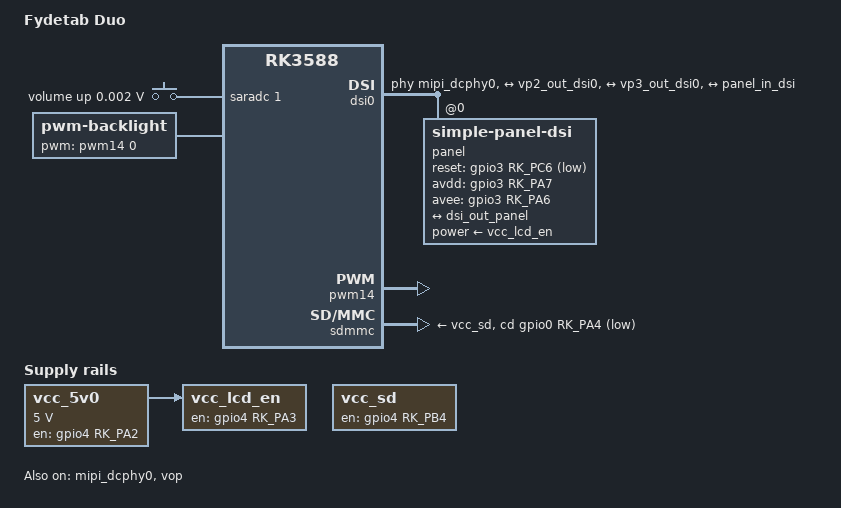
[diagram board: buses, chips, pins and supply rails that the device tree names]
// SPDX-License-Identifier: (GPL-2.0+ OR MIT)
/*
 * Copyright (c) 2023 Fyde Innovations Co. Ltd.
 */

/dts-v1/;
#include "rk3588.dtsi"
#include "rk3588-u-boot.dtsi"
#include <dt-bindings/input/input.h>
#include <dt-bindings/media/rockchip_mipi_dsi.h>


#define	ROCKCHIP_VOP2_CLUSTER0	0
#define	ROCKCHIP_VOP2_CLUSTER1	1
#define	ROCKCHIP_VOP2_ESMART0	2
#define	ROCKCHIP_VOP2_ESMART1	3
#define	ROCKCHIP_VOP2_SMART0	4
#define	ROCKCHIP_VOP2_SMART1	5
#define	ROCKCHIP_VOP2_CLUSTER2	6
#define	ROCKCHIP_VOP2_CLUSTER3	7
#define	ROCKCHIP_VOP2_ESMART2	8
#define	ROCKCHIP_VOP2_ESMART3	9


/ {
	model = "Fydetab Duo";
	compatible = "fydeos,fydetab-duo", "rockchip,rk3588";

	adc-keys {
		compatible = "adc-keys";
		io-channels = <&saradc 1>;
		io-channel-names = "buttons";
		keyup-threshold-microvolt = <1800000>;
		u-boot,dm-pre-reloc;
		status = "okay";

		volumeup-key {
			u-boot,dm-pre-reloc;
			linux,code = <KEY_VOLUMEUP>;
			label = "volume up";
			press-threshold-microvolt = <1750>;
		};
	};

	vcc_5v0: vcc-5v0 {
		compatible = "regulator-fixed";
		regulator-name = "vcc_5v0";
		regulator-always-on;
		regulator-boot-on;
		regulator-min-microvolt = <5000000>;
		regulator-max-microvolt = <5000000>;
		enable-active-high;
		gpio = <&gpio4 RK_PA2 GPIO_ACTIVE_HIGH>;
		pinctrl-names = "default";
		pinctrl-0 = <&vcc_5v0_en>;
	};

	vcc_lcd_en: vcc-lcd-power {
		compatible = "regulator-fixed";
		regulator-name = "vcc_lcd_en";
		enable-active-high;
		gpio = <&gpio4 RK_PA3 GPIO_ACTIVE_HIGH>;
		pinctrl-names = "default";
		pinctrl-0 = <&vcc_lcd_en_pin>;
		vin-supply = <&vcc_5v0>;
	};
	
	vcc_sd: vcc-sd-power {
		compatible = "regulator-fixed";
		regulator-name = "vcc_sd";
		enable-active-high;
		regulator-always-on;
		regulator-boot-on;
		gpio = <&gpio4 RK_PB4 GPIO_ACTIVE_HIGH>;
		pinctrl-names = "default";
		pinctrl-0 = <&vcc_sd_en_pin>;
	};

	backlight: backlight {
		compatible = "pwm-backlight";
		pwms = <&pwm14 0 25000 0>;
		brightness-levels = <
			  0  20  20  21  21  22  22  23
			 23  24  24  25  25  26  26  27
			 27  28  28  29  29  30  30  31
			 31  32  32  33  33  34  34  35
			 35  36  36  37  37  38  38  39
			 40  41  42  43  44  45  46  47
			 48  49  50  51  52  53  54  55
			 56  57  58  59  60  61  62  63
			 64  65  66  67  68  69  70  71
			 72  73  74  75  76  77  78  79
			 80  81  82  83  84  85  86  87
			 88  89  90  91  92  93  94  95
			 96  97  98  99 100 101 102 103
			104 105 106 107 108 109 110 111
			112 113 114 115 116 117 118 119
			120 121 122 123 124 125 126 127
			128 129 130 131 132 133 134 135
			136 137 138 139 140 141 142 143
			144 145 146 147 148 149 150 151
			152 153 154 155 156 157 158 159
			160 161 162 163 164 165 166 167
			168 169 170 171 172 173 174 175
			176 177 178 179 180 181 182 183
			184 185 186 187 188 189 190 191
			192 193 194 195 196 197 198 199
			200 201 202 203 204 205 206 207
			208 209 210 211 212 213 214 215
			216 217 218 219 220 221 222 223
			224 225 226 227 228 229 230 231
			232 233 234 235 236 237 238 239
			240 241 242 243 244 245 246 247
			248 249 250 251 252 253 254 255
		>;
		default-brightness-level = <200>;
	};

	mipidcphy0_grf: syscon@fd5e8000 {
		compatible = "rockchip,mipi-dcphy-grf", "syscon";
		reg = <0x0 0xfd5e8000 0x0 0x4000>;
	};

	mipi_dcphy0: phy@feda0000 {
		compatible = "rockchip,rk3588-mipi-dcphy";
		reg = <0x0 0xfeda0000 0x0 0x10000>;
		rockchip,grf = <&mipidcphy0_grf>;
		clocks = <&cru PCLK_MIPI_DCPHY0>,
			 <&cru CLK_USBDPPHY_MIPIDCPPHY_REF>;
		clock-names = "pclk", "ref";
		resets = <&cru SRST_M_MIPI_DCPHY0>,
			 <&cru SRST_P_MIPI_DCPHY0>,
			 <&cru SRST_P_MIPI_DCPHY0_GRF>,
			 <&cru SRST_S_MIPI_DCPHY0>;
		reset-names = "m_phy", "apb", "grf", "s_phy";
		#phy-cells = <0>;
		status = "okay";
	};
	
	vop: vop@fdd90000 {
		compatible = "rockchip,rk3588-vop";
		reg = <0x0 0xfdd90000 0x0 0x4200>, <0x0 0xfdd95000 0x0 0x1000>;
		reg-names = "regs", "gamma_lut";
		interrupts = <GIC_SPI 156 IRQ_TYPE_LEVEL_HIGH>;
		clocks = <&cru ACLK_VOP>,
			 <&cru HCLK_VOP>,
			 <&cru DCLK_VOP0>,
			 <&cru DCLK_VOP1>,
			 <&cru DCLK_VOP2>,
			 <&cru DCLK_VOP3>,
			 <&cru PCLK_VOP_ROOT>,
			 <&cru DCLK_VOP0_SRC>,
			 <&cru DCLK_VOP1_SRC>,
			 <&cru DCLK_VOP2_SRC>;
		clock-names = "aclk_vop",
			      "hclk_vop",
			      "dclk_vp0",
			      "dclk_vp1",
			      "dclk_vp2",
			      "dclk_vp3",
			      "pclk_vop",
			      "dclk_src_vp0",
			      "dclk_src_vp1",
			      "dclk_src_vp2";
		assigned-clocks = <&cru ACLK_VOP>;
		assigned-clock-rates = <800000000>;
		resets = <&cru SRST_A_VOP>,
			 <&cru SRST_H_VOP>,
			 <&cru SRST_D_VOP0>,
			 <&cru SRST_D_VOP1>,
			 <&cru SRST_D_VOP2>,
			 <&cru SRST_D_VOP3>;
		reset-names = "axi",
			      "ahb",
			      "dclk_vp0",
			      "dclk_vp1",
			      "dclk_vp2",
			      "dclk_vp3";
		iommus = <&vop_mmu>;
		power-domains = <&power RK3588_PD_VOP>;
		rockchip,grf = <&sys_grf>;
		rockchip,vop-grf = <&vop_grf>;
		rockchip,vo1-grf = <&vo1_grf>;
		rockchip,pmu = <&pmu>;

		disable-win-move;
		status = "okay";

		vop_out: ports {
			#address-cells = <1>;
			#size-cells = <0>;

			vp0: port@0 {
				cursor-win-id=<ROCKCHIP_VOP2_ESMART0>;
				rockchip,plane-mask = <(1 << ROCKCHIP_VOP2_CLUSTER0 | 1 << ROCKCHIP_VOP2_ESMART0)>;
				rockchip,primary-plane = <ROCKCHIP_VOP2_CLUSTER0>;
				#address-cells = <1>;
				#size-cells = <0>;
				reg = <0>;

				vp0_out_dp0: endpoint@0 {
					reg = <0>;
				};

				vp0_out_edp0: endpoint@1 {
					reg = <1>;
				};

				vp0_out_hdmi0: endpoint@2 {
					reg = <2>;
				};
			};

			vp1: port@1 {
				cursor-win-id=<ROCKCHIP_VOP2_ESMART1>;
				rockchip,plane-mask = <(1 << ROCKCHIP_VOP2_CLUSTER1 | 1 << ROCKCHIP_VOP2_ESMART1)>;
				rockchip,primary-plane = <ROCKCHIP_VOP2_CLUSTER1>;
				#address-cells = <1>;
				#size-cells = <0>;
				reg = <1>;

				vp1_out_dp0: endpoint@0 {
					reg = <0>;
				};

				vp1_out_edp0: endpoint@1 {
					reg = <1>;
				};

				vp1_out_hdmi0: endpoint@2 {
					reg = <2>;
				};
			};

			vp2: port@2 {
				cursor-win-id=<ROCKCHIP_VOP2_ESMART2>;
				rockchip,plane-mask = <(1 << ROCKCHIP_VOP2_CLUSTER2 | 1 << ROCKCHIP_VOP2_ESMART2)>;
				rockchip,primary-plane = <ROCKCHIP_VOP2_CLUSTER2>;
				#address-cells = <1>;
				#size-cells = <0>;
				reg = <2>;

				assigned-clocks = <&cru DCLK_VOP2_SRC>;
				assigned-clock-parents = <&cru PLL_V0PLL>;

				vp2_out_dp0: endpoint@0 {
					reg = <0>;
				};

				vp2_out_edp0: endpoint@1 {
					reg = <1>;
				};

				vp2_out_hdmi0: endpoint@2 {
					reg = <2>;
				};

				vp2_out_dsi0: endpoint@3 {
					reg = <3>;
					remote-endpoint = <&dsi0_in_vp2>;
				};

				vp2_out_dsi1: endpoint@4 {
					reg = <4>;
				};
			};

			vp3: port@3 {
				cursor-win-id=<ROCKCHIP_VOP2_ESMART3>;
				rockchip,plane-mask = <(1 << ROCKCHIP_VOP2_CLUSTER3 | 1 << ROCKCHIP_VOP2_ESMART3)>;
				rockchip,primary-plane = <ROCKCHIP_VOP2_CLUSTER3>;
				#address-cells = <1>;
				#size-cells = <0>;
				reg = <3>;

				vp3_out_dsi0: endpoint@0 {
					reg = <0>;
					remote-endpoint = <&dsi0_in_vp3>;
				};

				vp3_out_dsi1: endpoint@1 {
					reg = <1>;
				};

				vp3_out_rgb: endpoint@2 {
					reg = <2>;
				};
			};
		};
	};

	dsi0: dsi@fde20000 {
		compatible = "rockchip,rk3588-mipi-dsi2";
		reg = <0x0 0xfde20000 0x0 0x10000>;
		interrupts = <GIC_SPI 167 IRQ_TYPE_LEVEL_HIGH>;
		clocks = <&cru PCLK_DSIHOST0>, <&cru CLK_DSIHOST0>;
		clock-names = "pclk", "sys_clk";
		resets = <&cru SRST_P_DSIHOST0>;
		reset-names = "apb";
		power-domains = <&power RK3588_PD_VOP>;
		phys = <&mipi_dcphy0>;
		phy-names = "dcphy";
		rockchip,grf = <&vop_grf>;
		#address-cells = <1>;
		#size-cells = <0>;
		status = "okay";

		ports {
			#address-cells = <1>;
			#size-cells = <0>;

			dsi0_in: port@0 {
				reg = <0>;
				#address-cells = <1>;
				#size-cells = <0>;

				dsi0_in_vp2: endpoint@0 {
					reg = <0>;
					remote-endpoint = <&vp2_out_dsi0>;
					status = "okay";
				};

				dsi0_in_vp3: endpoint@1 {
					reg = <1>;
					remote-endpoint = <&vp3_out_dsi0>;
					status = "disabled";
				};
			};
		};
	};

	display_subsystem: display-subsystem {
		compatible = "rockchip,display-subsystem";
		status = "okay";
		ports = <&vop_out>;

		route {
			route_dp0: route-dp0 {
				status = "disabled";
				logo,uboot = "logo.bmp";
				logo,kernel = "logo_kernel.bmp";
				logo,mode = "center";
				charge_logo,mode = "center";
				connect = <&vp1_out_dp0>;
			};

			route_dsi0: route-dsi0 {
				status = "okay";
				logo,uboot = "logo.bmp";
				logo,kernel = "logo_kernel.bmp";
				logo,mode = "center";
				charge_logo,mode = "center";
				connect = <&vp2_out_dsi0>;
			};

			route_dsi1: route-dsi1 {
				status = "disabled";
				logo,uboot = "logo.bmp";
				logo,kernel = "logo_kernel.bmp";
				logo,mode = "center";
				charge_logo,mode = "center";
				connect = <&vp3_out_dsi1>;
			};

			route_edp0: route-edp0 {
				status = "disabled";
				logo,uboot = "logo.bmp";
				logo,kernel = "logo_kernel.bmp";
				logo,mode = "center";
				charge_logo,mode = "center";
				connect = <&vp2_out_edp0>;
			};

			route_edp1: route-edp1 {
				status = "disabled";
				logo,uboot = "logo.bmp";
				logo,kernel = "logo_kernel.bmp";
				logo,mode = "center";
				charge_logo,mode = "center";
			};

			route_hdmi0: route-hdmi0 {
				status = "disabled";
				logo,uboot = "logo.bmp";
				logo,kernel = "logo_kernel.bmp";
				logo,mode = "center";
				charge_logo,mode = "center";
				connect = <&vp0_out_hdmi0>;
			};

			route_rgb: route-rgb {
				status = "disabled";
				logo,uboot = "logo.bmp";
				logo,kernel = "logo_kernel.bmp";
				logo,mode = "center";
				charge_logo,mode = "center";
				connect = <&vp3_out_rgb>;
			};
		};
	};
};

&pwm14 {
	status = "okay";
	pinctrl-names = "active";
	pinctrl-0 = <&pwm14m1_pins>;
};

&dsi0 {
	status = "okay";

	rockchip,lane-rate = <676000>;

	panel: panel@0 {
		compatible = "simple-panel-dsi";
		reg = <0>;

		power-supply = <&vcc_lcd_en>;
		reset-gpios = <&gpio3 RK_PC6 GPIO_ACTIVE_LOW>;
		avdd-gpios = <&gpio3 RK_PA7 GPIO_ACTIVE_HIGH>;
		avee-gpios = <&gpio3 RK_PA6 GPIO_ACTIVE_HIGH>;
		pinctrl-names = "default";
		pinctrl-0 = <&avdd_lcd_gpio &avee_lcd_gpio &lcd_rst_gpio>;
		
		prepare-delay-ms = <2>;
		reset-delay-ms = <2>;
		init-delay-ms = <65>;
		enable-delay-ms = <40>;

		unprepare-delay-ms = <50>;
		disable-delay-ms = <50>;

		dsi,flags = <(MIPI_DSI_MODE_VIDEO | MIPI_DSI_MODE_VIDEO_BURST | MIPI_DSI_MODE_LPM | MIPI_DSI_MODE_EOT_PACKET)>;
		dsi,format = <MIPI_DSI_FMT_RGB888>;
		dsi,lanes = <4>;

		compressed-data;
		slice-width = <1600>;
		slice-height = <40>;
		version-major = <1>;
		version-minor = <1>;

		width-mm = <166>;
		height-mm = <266>;
		rotation = <90>;
		bpc = <8>;

		panel-init-sequence = [
			0a 31 58 11 00 00 89 30 80 0A 00 06 40 00 28 06 40 06 40 02 00 04 21 00 20 05 D0 00 16 00 0C 02 77 00 DA 18 00 10 E0 03 0C 20 00 06 0B 0B 33 0E 1C 2A 38 46 54 62 69 70 77 79 7B 7D 7E 01 02 01 00 09 40 09 BE 19 FC 19 FA 19 F8 1A 38 1A 78 1A B6 2A F6 2B 34 2B 74 3B 74 6B 74
			39 00 06 B9 83 12 1A 55 00
			39 00 03 51 08 00
			39 00 02 53 24
			39 00 1D B1 1C 6B 6B 27 E7 00 1B 12 20 20 2D 2D 1F 33 31 40 CD FF 1A 05 15 98 00 88 F9 FF FF CF
			39 00 12 B2 00 6A 40 00 00 14 6E 40 73 02 80 21 21 00 00 10 27
			39 00 2D B4 64 00 08 7F 08 7F 00 62 01 72 01 72 00 60 00 00 0A 08 00 29 05 05 05 00 00 00 00 00 00 00 00 00 00 00 FF 00 FF 14 00 00 0F 0F 2D 2D
			39 00 04 B6 8F 8F 03
			39 00 03 BC 06 02
			39 00 07 C0 34 34 44 00 08 D8
			39 00 06 C9 00 1E 80 A5 01
			39 00 07 CB 00 13 38 00 0B 27
			39 00 02 CC 02
			39 00 02 D1 07
			39 00 29 D3 00 C0 08 08 08 04 04 04 14 02 07 07 07 31 13 12 12 12 03 03 03 32 10 11 00 11 32 10 03 00 03 32 10 03 00 03 00 00 FF 00
			39 00 31 D5 19 19 18 18 02 02 03 03 04 04 05 05 06 06 07 07 00 00 01 01 18 18 40 40 20 20 18 18 18 18 40 40 18 18 2F 2F 31 31 2F 2F 31 31 18 18 41 41 41 41
			39 00 31 D6 40 40 18 18 05 05 04 04 03 03 02 02 01 01 00 00 07 07 06 06 18 18 19 19 20 20 18 18 18 18 40 40 18 18 2F 2F 31 31 2F 2F 31 31 18 18 41 41 41 41
			39 00 40 E1 11 00 00 89 30 80 0A 00 06 40 00 28 06 40 06 40 02 00 04 21 00 20 05 D0 00 16 00 0C 02 77 00 DA 18 00 10 E0 03 0C 20 00 06 0B 0B 33 0E 1C 2A 38 46 54 62 69 70 77 79 7B 7D 7E 01 02 01 00 09
			39 00 0C E7 06 14 14 1A 23 38 00 23 5D 02 02
			39 00 02 BD 01
			39 00 04 B1 01 23 00
			39 00 25 D8 20 00 02 22 00 00 20 00 02 22 00 00 20 00 02 22 00 00 20 00 02 22 00 00 20 00 02 22 00 00 20 00 02 22 00 00
			39 00 1A E1 40 09 BE 19 FC 19 FA 19 F8 1A 38 1A 78 1A B6 2A F6 2B 34 2B 74 3B 74 6B F4
			39 00 0D E7 02 00 40 01 84 13 BE 14 48 00 04 26
			39 00 08 CB 1F 55 03 28 0D 08 0A
			39 00 02 BD 02
			39 00 0D D8 AF FF FA FA BF EA AF FF FA FA BF EA
			39 00 23 E7 01 05 01 03 01 03 04 02 02 24 00 24 81 02 40 00 29 60 03 02 01 00 00 00 00 00 00 00 00 00 00 00 00 00
			39 00 02 BD 03
			39 00 19 D8 AA AA AA AB BF EA AA AA AA AB BF EA AF FF FA FA BF EA AF FF FA FA BF EA
			39 00 03 E1 01 3F
			39 00 02 BD 00
			39 00 2F E0 00 13 30 36 40 78 8B 94 95 97 94 94 91 8F 8F 8B 8A 8C 8E A6 B7 4D 7F 00 13 30 36 40 78 8B 94 95 97 94 94 91 8F 8F 8B 8A 8C 8E A6 B7 4D 7F
			39 00 05 BA 70 03 A8 92
			39 00 25 D8 EA AA AA AE AA AF EA AA AA AE AA AF E0 00 0A 2E 80 2F E0 00 0A 2E 80 2F E0 00 0A 2E 80 2F E0 00 0A 2E 80 2F
			39 00 02 BD 00
			39 00 02 C1 01
			39 00 02 BD 01
			39 00 3B C1 00 04 08 0C 10 14 18 1C 1F 23 27 2B 2F 33 37 3B 3F 43 47 4B 52 5A 62 69 71 79 81 89 91 98 A1 A9 B1 B9 C1 CA D2 DA E3 EA F4 F8 F9 FB FD FF 16 A4 44 16 90 E7 F9 71 A0 F3 1F 40
			39 00 02 BD 02
			39 00 3B C1 00 04 08 0C 10 14 18 1C 20 24 28 2D 31 35 39 3D 41 45 49 4D 55 5D 65 6D 75 7D 85 8D 94 9C A4 AC B4 BC C4 CC D4 DC E4 EC F4 F8 FA FC FE FF 06 AA FC 5B FF FF A4 F9 86 F9 55 40
			39 00 02 BD 03
			39 00 3B C1 00 04 07 0B 0F 13 17 1B 1F 23 27 2C 30 33 38 3C 40 44 48 4C 53 5B 63 6B 72 7A 82 89 91 99 A1 A9 B1 B9 C1 C9 D1 DA E2 EA F3 F6 F9 FA FE FF 0F 9A FC 31 40 E4 FB E9 A3 D9 77 00
			39 00 02 BD 02
			39 00 02 BF 72
			39 00 02 BD 00
			39 00 08 BF FD 00 80 9C 10 00 80
			39 00 02 E9 DE
			39 00 04 B1 CC 03 00
			39 00 02 E9 3F
			39 00 07 D0 07 C0 08 03 11 00
			39 00 03 B0 00 00
			39 00 02 E9 CF
			39 00 02 BA 03
			39 00 02 E9 3F
			39 78 01 11 // exit_sleep_mode delay = 120ms
			39 00 01 29 // set_display_on
		];

		panel-exit-sequence = [
			39 10 01 28 // set_display_off
			39 28 01 10 // enter_sleep_mode
		];

		display-timings {
			native-mode = <&dsi0_timing0>;

			dsi0_timing0: panel-timing {
				clock-frequency = <275000000>;
				hactive = <1600>;
				vactive = <2560>;
				hfront-porch = <60>;
				hsync-len = <20>;
				hback-porch = <20>;
				vfront-porch = <112>;
				vsync-len = <4>;
				vback-porch = <18>;
				hsync-active = <0>;
				vsync-active = <0>;
				de-active = <0>;
				pixelclk-active = <0>;
			};
		};

		ports {
			#address-cells = <1>;
			#size-cells = <0>;

			port@0 {
				reg = <0>;
				panel_in_dsi: endpoint {
					remote-endpoint = <&dsi_out_panel>;
				};
			};
		};
	};

	ports {
		#address-cells = <1>;
		#size-cells = <0>;

		port@1 {
			reg = <1>;
			dsi_out_panel: endpoint {
				remote-endpoint = <&panel_in_dsi>;
			};
		};
	};
};

&sdmmc {
	cd-gpios = <&gpio0 RK_PA4 GPIO_ACTIVE_LOW>;
	vmmc-supply = <&vcc_sd>;
};

&pinctrl {
	pwr {
		vcc_5v0_en: vcc_5v0_en {
  			rockchip,pins = <4 RK_PA2 RK_FUNC_GPIO &pcfg_pull_up>;
  		};
	};

	lcd {
		vcc_lcd_en_pin: vcc-lcd-en-pin {
			rockchip,pins = <4 RK_PA3 RK_FUNC_GPIO &pcfg_pull_none>;
		};

		lcd_rst_gpio: lcd-rst-gpio {
			rockchip,pins = <3 RK_PC6 RK_FUNC_GPIO &pcfg_pull_none>;
		};

		avdd_lcd_gpio: avdd-lcd-gpio {
			rockchip,pins = <3 RK_PA7 RK_FUNC_GPIO &pcfg_pull_none>;
		};

		avee_lcd_gpio: avee-lcd-gpio {
			rockchip,pins = <3 RK_PA6 RK_FUNC_GPIO &pcfg_pull_none>;
		};
	};

	sdcard {
		vcc_sd_en_pin: vcc-sd-en-pin {
			rockchip,pins = <4 RK_PB4 RK_FUNC_GPIO &pcfg_pull_none>;
		};
	};

	hdmi {
		hdmim0_tx0_cec: hdmim0-tx0-cec {
			rockchip,pins =
				/* hdmim0_tx0_cec */
				<4 RK_PC1 5 &pcfg_pull_none>;
		};

		hdmim0_tx0_hpd: hdmim0-tx0-hpd {
			rockchip,pins =
				/* hdmim0_tx0_hpd */
				<1 RK_PA5 5 &pcfg_pull_none>;
		};

		hdmim0_tx0_scl: hdmim0-tx0-scl {
			rockchip,pins =
				/* hdmim0_tx0_scl */
				<4 RK_PB7 5 &pcfg_pull_none>;
		};

		hdmim0_tx0_sda: hdmim0-tx0-sda {
			rockchip,pins =
				/* hdmim0_tx0_sda */
				<4 RK_PC0 5 &pcfg_pull_none>;
		};

		hdmim0_tx1_hpd: hdmim0-tx1-hpd {
			rockchip,pins =
				/* hdmim0_tx1_hpd */
				<1 RK_PA6 5 &pcfg_pull_none>;
		};
	};
};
